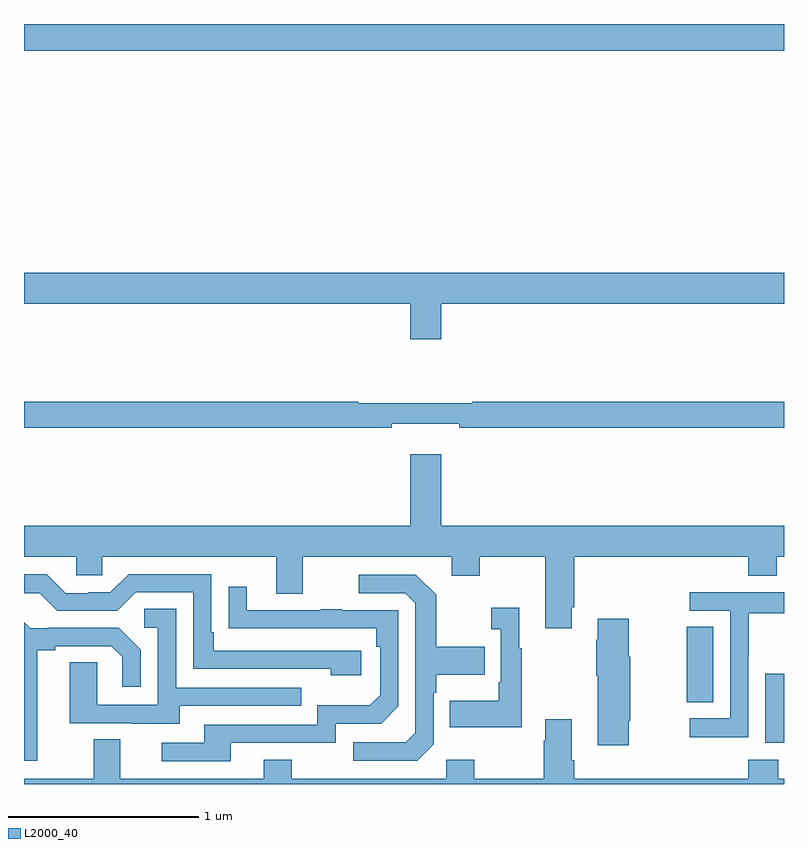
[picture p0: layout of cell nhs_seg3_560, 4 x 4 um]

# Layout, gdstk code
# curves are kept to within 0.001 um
import gdstk
lib = gdstk.Library(unit=1e-6, precision=1e-09)
def R(c, l, rs):  # rectangles x0, y0, x1, y1
    for r in rs: c.add(gdstk.rectangle(r[:2], r[2:], *l))
def P(c, l, *ps):  # polygons
    for p in ps: c.add(gdstk.Polygon(p, *l))
L2000_40 = (2000, 40)

nhs_seg3_560 = lib.new_cell('nhs_seg3_560')
R(nhs_seg3_560, L2000_40, [(142.901,686.618,143,686.979), (142.489,686.83,142.627,687.227), (139,690.26,143,690.4)])
P(nhs_seg3_560, L2000_40, [(141.196,688.928),(143,688.928),(143,689.092),(139,689.092),(139,688.928),(141.032,688.928),(141.032,688.74),(141.196,688.74)],
  [(140.936,688.295),(141.292,688.295),(141.292,688.276),(143,688.276),(143,688.412),(141.358,688.412),(141.358,688.405),(140.758,688.405),(140.758,688.412),(139,688.412),(139,688.276),(140.936,688.276)],
  [(141.883,687.331),(141.896,687.331),(141.896,687.596),(142.811,687.596),(142.811,687.497),(142.963,687.497),(142.963,687.596),(143,687.596),(143,687.76),(141.196,687.76),(141.196,688.135),(141.032,688.135),(141.032,687.76),(139,687.76),(139,687.596),(139.275,687.596),(139.275,687.498),(139.413,687.498),(139.413,687.596),(140.327,687.596),(140.327,687.402),(140.467,687.402),(140.467,687.596),(141.251,687.596),(141.251,687.497),(141.399,687.497),(141.399,687.596),(141.743,687.596),(141.743,687.219),(141.883,687.219)],
  [(140.776,687.102),(139.999,687.102),(139.999,687.199),(139.986,687.199),(139.986,687.504),(139.551,687.504),(139.455,687.408),(139.337,687.408),(139.337,687.405),(139.221,687.405),(139.121,687.505),(139,687.505),(139,687.405),(139.083,687.405),(139.176,687.312),(139.491,687.312),(139.587,687.408),(139.89,687.408),(139.89,687.006),(140.615,687.006),(140.615,686.972),(140.776,686.972)],
  [(141.156,686.61),(141.156,686.879),(141.169,686.879),(141.169,686.975),(141.425,686.975),(141.425,687.123),(141.169,687.123),(141.169,687.395),(141.063,687.501),(140.763,687.501),(140.763,687.405),(141.006,687.405),(141.06,687.351),(141.06,686.67),(141.009,686.619),(140.733,686.619),(140.733,686.523),(141.069,686.523)],
  [(140.089,686.616),(140.64,686.616),(140.64,686.718),(140.88,686.718),(140.97,686.808),(140.97,687.315),(140.675,687.315),(140.675,687.32),(140.563,687.32),(140.563,687.315),(140.173,687.315),(140.173,687.439),(140.077,687.439),(140.077,687.22),(140.854,687.219),(140.854,687.122),(140.874,687.122),(140.874,686.868),(140.821,686.815),(140.544,686.815),(140.544,686.712),(139.949,686.712),(139.949,686.616),(139.725,686.616),(139.725,686.52),(140.089,686.52)],
  [(142.812,687.076),(142.815,687.076),(142.815,687.3),(143,687.3),(143,687.408),(142.503,687.408),(142.503,687.312),(142.716,687.312),(142.716,686.745),(142.503,686.745),(142.503,686.647),(142.812,686.647)],
  [(141.619,687.115),(141.607,687.115),(141.607,687.328),(141.459,687.328),(141.459,687.215),(141.51,687.215),(141.51,686.935),(141.498,686.935),(141.498,686.839),(141.241,686.839),(141.241,686.699),(141.619,686.699)],
  [(139.819,686.811),(140.459,686.811),(140.459,686.907),(139.8,686.907),(139.8,687.323),(139.632,687.323),(139.632,687.222),(139.704,687.222),(139.704,686.817),(139.386,686.817),(139.386,687.041),(139.241,687.041),(139.241,686.721),(139.565,686.721),(139.565,686.717),(139.819,686.717)],
  [(142.182,686.733),(142.192,686.733),(142.192,687.069),(142.182,687.069),(142.182,687.271),(142.019,687.271),(142.019,687.158),(142.012,687.158),(142.012,686.969),(142.019,686.969),(142.019,686.604),(142.182,686.604)],
  [(139.069,687.104),(139.165,687.104),(139.165,687.126),(139.46,687.126),(139.517,687.069),(139.517,686.913),(139.614,686.913),(139.614,687.106),(139.498,687.222),(139.126,687.222),(139.126,687.219),(139.032,687.219),(139,687.251),(139,686.523),(139.069,686.523)],
  [(143,686.428),(142.971,686.428),(142.971,686.527),(142.811,686.527),(142.811,686.428),(141.896,686.428),(141.896,686.524),(141.883,686.524),(141.883,686.74),(141.743,686.74),(141.743,686.627),(141.736,686.627),(141.736,686.428),(141.369,686.428),(141.369,686.527),(141.222,686.527),(141.222,686.428),(140.409,686.428),(140.409,686.527),(140.261,686.527),(140.261,686.428),(139.507,686.428),(139.507,686.636),(139.367,686.636),(139.367,686.428),(139,686.428),(139,686.4),(143,686.4)])

lib.write_gds('nhs_seg3_560.gds')
